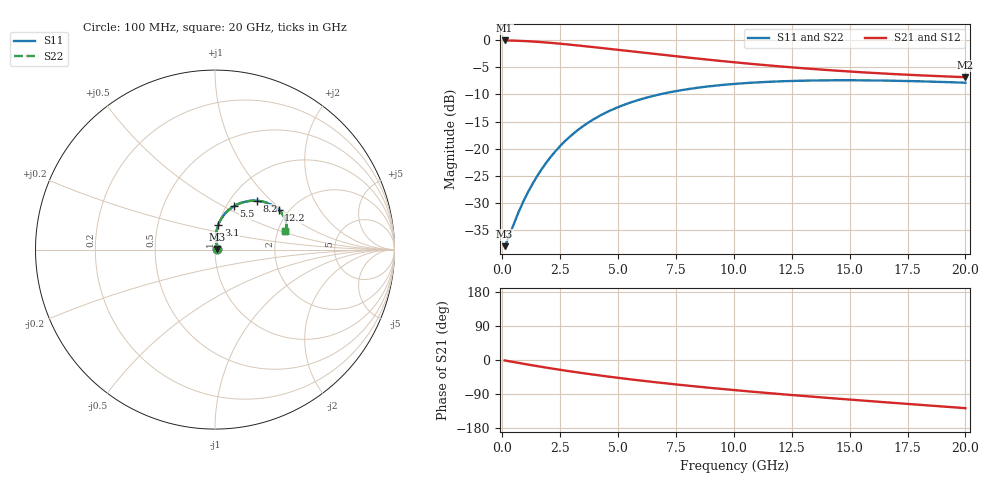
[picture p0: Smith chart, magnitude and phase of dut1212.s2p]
! Touchstone file exported from HFSS 2024.1.0
!  File:  C:/UserFiles/LocalFiles/RDL_TSV_Batchsim/temp_RDL_TSV_1212_1780259680.aedt
!  Generated:  04:55:35 AM Jun  1, 2026
!  Design:  RDL_TSV
!  Project:  temp_RDL_TSV_1212_1780259680
!  Setup:  Setup1
!  Solution:  Sweep
! Variables:
!  dtsv = 5.18um
!  hbump = 3um
!  htsv = 89.34um
!  ldown = 173.22um
!  lrdl = 228.96um
!  p = 40
!  p1 = 53.1um
!  rhole = 10um
!  subl = 1435.5um
!  t = 450um
!  tdown = 2.35um
!  trdl = 4.81um
!  viad = 10um
!  wdown = 14.23um
!  wrdl = 15.24um
!  xbump = 18um
# GHz S MA R 50.000000
! Terminal data exported
! Port[1] = TM1_1_T1
! Port[2] = TM1_4_T1
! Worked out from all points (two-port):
!   200 points, 100 MHz to 20 GHz, reference 50 ohm
!   highest |S21| = -0.11 dB at 100 MHz (marker M1); lowest = -6.9 dB at 20 GHz (marker M2)
!   |S21| within 3 dB of the highest: start of sweep to 7.71 GHz
!   lowest |S11| = -37.9 dB at 100 MHz (marker M3), VSWR 1.03, Z = 51.2 + j0.354 ohm
!   |S11| at or under -10 dB: start of sweep to 6.81 GHz
!   |S22| runs from -37.9 to -7.4 dB; largest |S21 - S12| = 9.9e-15
!   S11 on the Smith chart (normalised r, x): 100 MHz: 1.02, +0.01; 3.1 GHz: 1.00, +0.28; 5.5 GHz: 1.09, +0.56; 8.2 GHz: 1.31, +0.82; 12.2 GHz: 1.77, +0.95; 20 GHz: 2.20, +0.53
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0.1  0.01277 15.7  0.9875 -1.1  0.9875 -1.1  0.01277 15.7
! Gamma 0 0 0 0
! Port Impedance 50 0 50 0
0.2  0.01411 29.1  0.987 -2.2  0.987 -2.2  0.01411 29.1
0.6  0.0233 59.9  0.9822 -6.6  0.9822 -6.6  0.0233 59.9
0.9  0.03248 71.4  0.9765 -9.8  0.9765 -9.8  0.03248 71.4
1.2  0.04338 78.3  0.969 -13.0  0.969 -13.0  0.04338 78.4
1.5  0.05587 82.4  0.96 -16.1  0.96 -16.1  0.05587 82.4
1.8  0.06975 84.5  0.9497 -19.1  0.9497 -19.1  0.06975 84.5
2.2  0.08997 85.3  0.9344 -23.1  0.9344 -23.1  0.08998 85.3
2.6  0.1116 84.6  0.9177 -26.9  0.9177 -26.9  0.1116 84.6
3.1  0.1395 82.4  0.8959 -31.4  0.8959 -31.4  0.1396 82.4
3.5  0.162 80.1  0.8779 -34.9  0.8779 -34.9  0.1621 80.1
3.9  0.1842 77.5  0.8597 -38.3  0.8597 -38.3  0.1843 77.5
4.4  0.211 74.0  0.837 -42.4  0.837 -42.4  0.2111 74.0
5.5  0.2643 66.2  0.7882 -50.8  0.7882 -50.8  0.2645 66.3
6.8  0.3159 57.7  0.7341 -59.9  0.7341 -59.9  0.3161 57.7
8.2  0.3577 49.5  0.6814 -68.9  0.6814 -68.9  0.358 49.6
10.1  0.3953 40.2  0.6202 -79.9  0.6202 -79.9  0.3957 40.3
12.2  0.4176 32.0  0.5659 -90.9  0.5659 -90.9  0.418 32.1
13.4  0.4235 28.1  0.5405 -96.9  0.5405 -96.9  0.424 28.1
15  0.4257 23.6  0.5122 -104.5  0.5122 -104.5  0.4261 23.7
16.7  0.4223 19.8  0.4879 -112.3  0.4879 -112.3  0.4227 19.8
20  0.404 14.5  0.4544 -127.1  0.4544 -127.1  0.4045 14.6
